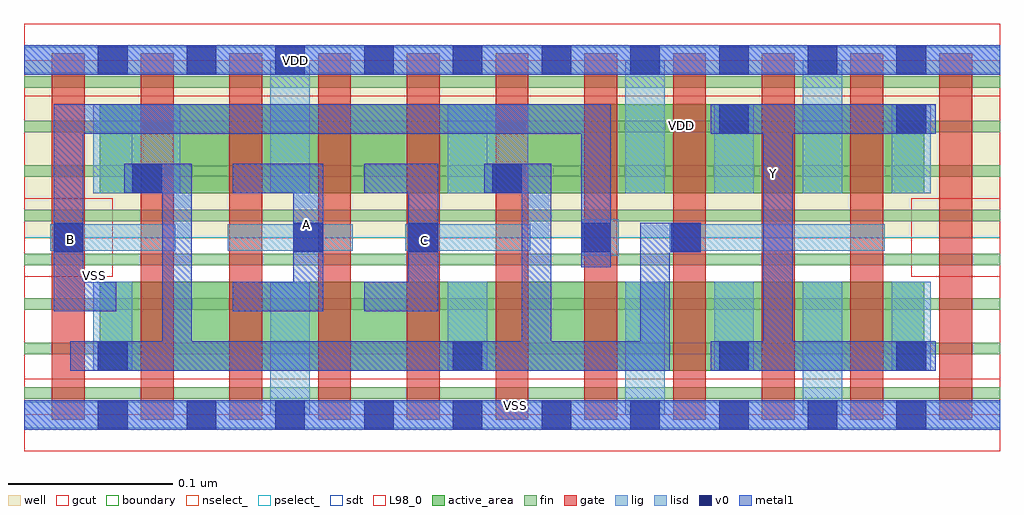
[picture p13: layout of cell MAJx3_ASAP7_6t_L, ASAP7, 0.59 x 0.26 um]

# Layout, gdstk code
import gdstk
lib = gdstk.Library(unit=1e-6, precision=2.5e-10)
def R(c, l, rs):  # rectangles x0, y0, x1, y1
    for r in rs: c.add(gdstk.rectangle(r[:2], r[2:], *l))
def A(c, l, x, y, w, h, nx, ny, dx, dy):  # array of equal rectangles
    R(c, l, [(x+i*dx, y+j*dy, x+i*dx+w, y+j*dy+h) for i in range(nx) for j in range(ny)])
def P(c, l, *ps):  # polygons
    for p in ps: c.add(gdstk.Polygon(p, *l))
well = (1, 0)
fin = (2, 0)
gate = (7, 0)
gcut = (10, 0)
active_area = (11, 0)
nselect_ = (12, 0)
pselect_ = (13, 0)
lig = (16, 0)
lisd = (17, 0)
v0 = (18, 0)
metal1 = (19, 0)
sdt = (88, 0)
L98_0 = (98, 0)
boundary = (100, 0)

majx3_asap7_6t_l = lib.new_cell('MAJx3_ASAP7_6t_L')
R(majx3_asap7_6t_l, well, [(0,0.108,0.594,0.216)])
A(majx3_asap7_6t_l, fin, 0, 0.01, 0.594, 0.007, 1, 8, 0, 0.027)
A(majx3_asap7_6t_l, gate, 0.017, -0.003, 0.02, 0.223, 8, 1, 0.054, 0)
R(majx3_asap7_6t_l, gate, [(0.395,-0.003,0.415,0.22), (0.449,-0.003,0.469,0.22), (0.449,-0.003,0.469,0.22), (0.503,-0.003,0.523,0.22), (0.503,-0.003,0.523,0.22), (0.503,-0.003,0.523,0.22), (0.557,-0.003,0.577,0.22), (0.557,-0.003,0.577,0.22)])
R(majx3_asap7_6t_l, gcut, [(0,-0.022,0.594,0.022), (0,0.084,0.054,0.132), (0.54,0.084,0.594,0.132), (0,0.194,0.594,0.238)])
R(majx3_asap7_6t_l, active_area, [(0.046,0.027,0.548,0.081), (0.046,0.135,0.548,0.189)])
R(majx3_asap7_6t_l, nselect_, [(0,0,0.594,0.108)])
R(majx3_asap7_6t_l, pselect_, [(0,0.108,0.594,0.216)])
A(majx3_asap7_6t_l, lig, 0.016, 0.1, 0.076, 0.016, 3, 1, 0.108, 0)
R(majx3_asap7_6t_l, lig, [(0,-0.008,0.594,0.008), (0.339,0.097,0.362,0.119), (0.393,0.1,0.524,0.116), (0,0.208,0.594,0.224)])
R(majx3_asap7_6t_l, lisd, [(0.15,0,0.174,0.081), (0.366,0,0.39,0.081), (0.474,0,0.498,0.081), (0.042,0.027,0.066,0.081), (0.258,0.027,0.282,0.081), (0.42,0.027,0.444,0.081), (0.42,0.027,0.444,0.081), (0.528,0.027,0.552,0.081), (0.528,0.027,0.552,0.081), (0.042,0.135,0.095,0.189), (0.15,0.135,0.174,0.216), (0.258,0.135,0.307,0.189), (0.366,0.135,0.39,0.216), (0.42,0.135,0.444,0.189), (0.42,0.135,0.444,0.189), (0.474,0.135,0.498,0.216), (0.528,0.135,0.552,0.189), (0.528,0.135,0.552,0.189)])
A(majx3_asap7_6t_l, v0, 0.045, -0.009, 0.018, 0.018, 10, 2, 0.054, 0.216)
R(majx3_asap7_6t_l, v0, [(0.045,0.027,0.063,0.045), (0.261,0.027,0.279,0.045), (0.423,0.027,0.441,0.045), (0.531,0.027,0.549,0.045), (0.018,0.099,0.036,0.117), (0.164,0.099,0.182,0.117), (0.234,0.099,0.252,0.117), (0.339,0.099,0.357,0.117), (0.394,0.099,0.412,0.117), (0.066,0.135,0.084,0.153), (0.285,0.135,0.303,0.153), (0.423,0.171,0.441,0.189), (0.531,0.171,0.549,0.189)])
R(majx3_asap7_6t_l, metal1, [(0,-0.009,0.594,0.009), (0.444,0.027,0.555,0.045), (0.444,0.171,0.555,0.189), (0,0.207,0.594,0.225)])
P(majx3_asap7_6t_l, metal1, [(0.468,0.189),(0.418,0.189),(0.418,0.171),(0.45,0.171),(0.45,0.045),(0.418,0.045),(0.418,0.027),(0.468,0.027)],
  [(0.412,0.117),(0.375,0.117),(0.375,0.045),(0.321,0.045),(0.321,0.153),(0.28,0.153),(0.28,0.135),(0.303,0.135),(0.303,0.045),(0.102,0.045),(0.102,0.153),(0.061,0.153),(0.061,0.135),(0.084,0.135),(0.084,0.045),(0.028,0.045),(0.028,0.027),(0.393,0.027),(0.393,0.099),(0.412,0.099)],
  [(0.357,0.189),(0.018,0.189),(0.018,0.063),(0.056,0.063),(0.056,0.081),(0.036,0.081),(0.036,0.171),(0.339,0.171),(0.339,0.09),(0.357,0.09)],
  [(0.252,0.153),(0.207,0.153),(0.207,0.135),(0.234,0.135),(0.234,0.081),(0.207,0.081),(0.207,0.063),(0.252,0.063)],
  [(0.182,0.153),(0.127,0.153),(0.127,0.135),(0.164,0.135),(0.164,0.081),(0.127,0.081),(0.127,0.063),(0.182,0.063)])
A(majx3_asap7_6t_l, sdt, 0.042, 0.027, 0.024, 0.054, 4, 2, 0.108, 0.108)
A(majx3_asap7_6t_l, sdt, 0.42, 0.027, 0.024, 0.054, 3, 2, 0.054, 0.108)
R(majx3_asap7_6t_l, sdt, [(0.42,0.027,0.444,0.081), (0.528,0.027,0.552,0.081), (0.42,0.135,0.444,0.189), (0.528,0.135,0.552,0.189)])
R(majx3_asap7_6t_l, L98_0, [(0,0,0.594,0.216)])
R(majx3_asap7_6t_l, boundary, [(0,0,0.594,0.216)])
majx3_asap7_6t_l.add(gdstk.Label('Y', (0.456,0.147), layer=19, texttype=251))
majx3_asap7_6t_l.add(gdstk.Label('A', (0.172,0.116), layer=19, texttype=251))
majx3_asap7_6t_l.add(gdstk.Label('C', (0.244,0.106), layer=19, texttype=251))
majx3_asap7_6t_l.add(gdstk.Label('B', (0.028,0.107), layer=19, texttype=251))
majx3_asap7_6t_l.add(gdstk.Label('VSS', (0.299,0.006), layer=19, texttype=251))
majx3_asap7_6t_l.add(gdstk.Label('VDD', (0.165,0.216), layer=19, texttype=251))
majx3_asap7_6t_l.add(gdstk.Label('VDD', (0.4,0.176), layer=1, texttype=251))
majx3_asap7_6t_l.add(gdstk.Label('VSS', (0.043,0.085), layer=3, texttype=251))

lib.write_gds('MAJx3_ASAP7_6t_L.gds')
